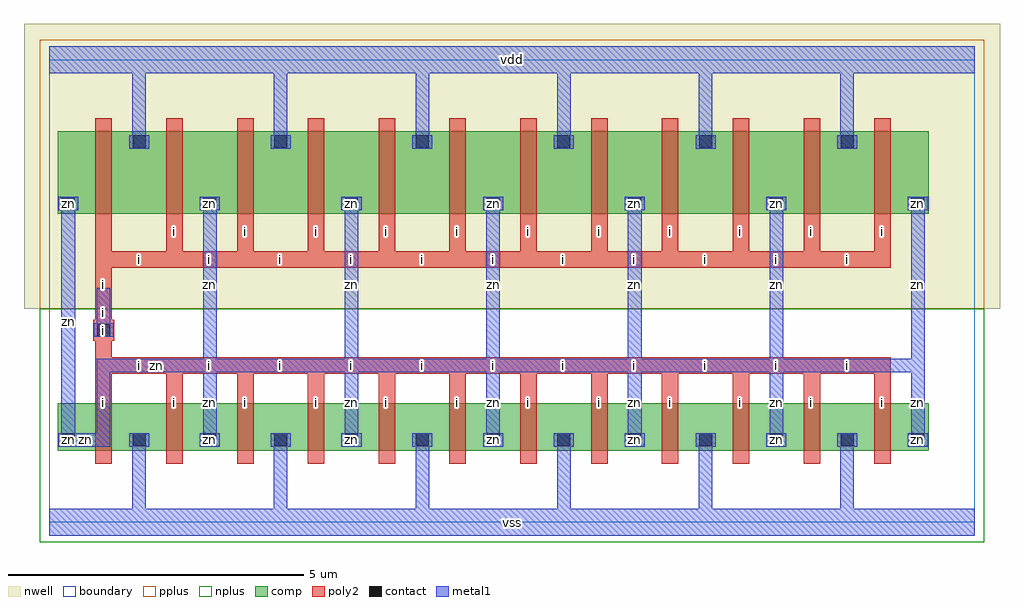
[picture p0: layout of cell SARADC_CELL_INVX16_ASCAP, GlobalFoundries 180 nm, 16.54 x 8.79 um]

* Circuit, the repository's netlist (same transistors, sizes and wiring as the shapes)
* SARADC_CELL_INVX16_ASCAP (INVD12 of gf180mcuf), cells/tools/build_cells.py
.SUBCKT SARADC_CELL_INVX16_ASCAP i vdd vss zn vnw vpw
MU1_M_u2_0 zn i vss vpw nfet_03v3 l=2.800e-07 w=8.000e-07 $pos=0 $flip=0
MU1_M_u2_1 zn i vss vpw nfet_03v3 l=2.800e-07 w=8.000e-07 $pos=1 $flip=1
MU1_M_u2_2 zn i vss vpw nfet_03v3 l=2.800e-07 w=8.000e-07 $pos=2 $flip=0
MU1_M_u2_3 zn i vss vpw nfet_03v3 l=2.800e-07 w=8.000e-07 $pos=3 $flip=1
MU1_M_u2_4 zn i vss vpw nfet_03v3 l=2.800e-07 w=8.000e-07 $pos=4 $flip=0
MU1_M_u2_5 zn i vss vpw nfet_03v3 l=2.800e-07 w=8.000e-07 $pos=5 $flip=1
MU1_M_u2_6 zn i vss vpw nfet_03v3 l=2.800e-07 w=8.000e-07 $pos=6 $flip=0
MU1_M_u2_7 zn i vss vpw nfet_03v3 l=2.800e-07 w=8.000e-07 $pos=7 $flip=1
MU1_M_u2_8 zn i vss vpw nfet_03v3 l=2.800e-07 w=8.000e-07 $pos=8 $flip=0
MU1_M_u2_9 zn i vss vpw nfet_03v3 l=2.800e-07 w=8.000e-07 $pos=9 $flip=1
MU1_M_u2_10 zn i vss vpw nfet_03v3 l=2.800e-07 w=8.000e-07 $pos=10 $flip=0
MU1_M_u2_11 zn i vss vpw nfet_03v3 l=2.800e-07 w=8.000e-07 $pos=11 $flip=1
MU1_M_u3_0 zn i vdd vnw pfet_03v3 l=2.800e-07 w=1.400e-06 $pos=0 $flip=0
MU1_M_u3_1 zn i vdd vnw pfet_03v3 l=2.800e-07 w=1.400e-06 $pos=1 $flip=1
MU1_M_u3_2 zn i vdd vnw pfet_03v3 l=2.800e-07 w=1.400e-06 $pos=2 $flip=0
MU1_M_u3_3 zn i vdd vnw pfet_03v3 l=2.800e-07 w=1.400e-06 $pos=3 $flip=1
MU1_M_u3_4 zn i vdd vnw pfet_03v3 l=2.800e-07 w=1.400e-06 $pos=4 $flip=0
MU1_M_u3_5 zn i vdd vnw pfet_03v3 l=2.800e-07 w=1.400e-06 $pos=5 $flip=1
MU1_M_u3_6 zn i vdd vnw pfet_03v3 l=2.800e-07 w=1.400e-06 $pos=6 $flip=0
MU1_M_u3_7 zn i vdd vnw pfet_03v3 l=2.800e-07 w=1.400e-06 $pos=7 $flip=1
MU1_M_u3_8 zn i vdd vnw pfet_03v3 l=2.800e-07 w=1.400e-06 $pos=8 $flip=0
MU1_M_u3_9 zn i vdd vnw pfet_03v3 l=2.800e-07 w=1.400e-06 $pos=9 $flip=1
MU1_M_u3_10 zn i vdd vnw pfet_03v3 l=2.800e-07 w=1.400e-06 $pos=10 $flip=0
MU1_M_u3_11 zn i vdd vnw pfet_03v3 l=2.800e-07 w=1.400e-06 $pos=11 $flip=1
.ENDS

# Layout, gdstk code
import gdstk
lib = gdstk.Library(unit=1e-6, precision=1e-09)
def R(c, l, rs):  # rectangles x0, y0, x1, y1
    for r in rs: c.add(gdstk.rectangle(r[:2], r[2:], *l))
def A(c, l, x, y, w, h, nx, ny, dx, dy):  # array of equal rectangles
    R(c, l, [(x+i*dx, y+j*dy, x+i*dx+w, y+j*dy+h) for i in range(nx) for j in range(ny)])
boundary = (0, 0)
nwell = (21, 0)
comp = (22, 0)
poly2 = (30, 0)
pplus = (31, 0)
nplus = (32, 0)
contact = (33, 0)
metal1 = (34, 0)

saradc_cell_invx16_ascap = lib.new_cell('SARADC_CELL_INVX16_ASCAP')
R(saradc_cell_invx16_ascap, boundary, [(0,0,15.68,7.84)])
R(saradc_cell_invx16_ascap, nwell, [(-0.43,3.62,16.11,8.45)])
A(saradc_cell_invx16_ascap, comp, 0.14, 1.215, 1.56, 0.8, 12, 1, 1.2, 0)
A(saradc_cell_invx16_ascap, comp, 0.14, 1.215, 0.36, 0.36, 13, 1, 1.2, 0)
A(saradc_cell_invx16_ascap, comp, 0.14, 5.225, 1.56, 1.4, 12, 1, 1.2, 0)
A(saradc_cell_invx16_ascap, comp, 0.14, 5.225, 0.36, 0.36, 7, 1, 2.4, 0)
A(saradc_cell_invx16_ascap, comp, 1.34, 6.265, 0.36, 0.36, 6, 1, 2.4, 0)
A(saradc_cell_invx16_ascap, poly2, 0.78, 0.995, 0.28, 1.24, 12, 1, 1.2, 0)
A(saradc_cell_invx16_ascap, poly2, 0.78, 1.255, 0.28, 1.54, 12, 1, 1.2, 0)
A(saradc_cell_invx16_ascap, poly2, 0.78, 2.515, 1.48, 0.28, 11, 2, 1.2, 1.8)
A(saradc_cell_invx16_ascap, poly2, 1.98, 4.315, 0.28, 1.23, 11, 1, 1.2, 0)
A(saradc_cell_invx16_ascap, poly2, 0.78, 5.005, 0.28, 1.84, 12, 1, 1.2, 0)
R(saradc_cell_invx16_ascap, poly2, [(0.78,2.515,1.06,5.545), (0.74,3.075,1.1,3.435)])
R(saradc_cell_invx16_ascap, pplus, [(-0.16,3.62,15.84,7.5), (-0.16,7.5,15.84,8.18)])
R(saradc_cell_invx16_ascap, nplus, [(-0.16,-0.34,15.84,0.34), (-0.16,0.34,15.84,3.62)])
A(saradc_cell_invx16_ascap, contact, 0.21, 1.285, 0.22, 0.22, 13, 1, 1.2, 0)
A(saradc_cell_invx16_ascap, contact, 0.21, 5.295, 0.22, 0.22, 7, 1, 2.4, 0)
A(saradc_cell_invx16_ascap, contact, 1.41, 6.335, 0.22, 0.22, 6, 1, 2.4, 0)
R(saradc_cell_invx16_ascap, contact, [(0.81,3.145,1.03,3.365)])
A(saradc_cell_invx16_ascap, metal1, 1.405, 0.065, 0.23, 1.445, 6, 2, 2.4, 6.265)
A(saradc_cell_invx16_ascap, metal1, 0.15, 1.28, 0.34, 0.23, 13, 1, 1.2, 0)
A(saradc_cell_invx16_ascap, metal1, 2.605, 1.28, 0.23, 1.49, 6, 1, 2.4, 0)
A(saradc_cell_invx16_ascap, metal1, 2.605, 2.54, 2.63, 0.23, 5, 1, 2.4, 0)
A(saradc_cell_invx16_ascap, metal1, 2.605, 2.54, 0.23, 2.98, 6, 1, 2.4, 0)
A(saradc_cell_invx16_ascap, metal1, 0.15, 5.29, 0.34, 0.23, 7, 1, 2.4, 0)
A(saradc_cell_invx16_ascap, metal1, 1.35, 6.33, 0.34, 0.23, 6, 1, 2.4, 0)
R(saradc_cell_invx16_ascap, metal1, [(0,-0.23,15.68,0.23), (0.205,1.28,1.035,1.51), (0.205,1.28,0.435,5.52), (0.805,1.28,1.035,2.77), (0.805,2.54,2.835,2.77), (0.75,3.14,1.09,3.37), (0.805,3.14,1.035,3.97), (0,7.61,15.68,8.07)])
saradc_cell_invx16_ascap.add(gdstk.FlexPath([(0.14,0.575),(14.9,0.575)], 0, ends="flush", simple_path=True, layer=0, datatype=0))  # boundary
saradc_cell_invx16_ascap.add(gdstk.FlexPath([(0.14,1.395),(14.9,1.395)], 0, ends="flush", simple_path=True, layer=0, datatype=0))  # boundary
saradc_cell_invx16_ascap.add(gdstk.FlexPath([(0.14,2.655),(14.9,2.655)], 0, ends="flush", simple_path=True, layer=0, datatype=0))  # boundary
saradc_cell_invx16_ascap.add(gdstk.FlexPath([(0.14,3.255),(14.9,3.255)], 0, ends="flush", simple_path=True, layer=0, datatype=0))  # boundary
saradc_cell_invx16_ascap.add(gdstk.FlexPath([(0.14,3.855),(14.9,3.855)], 0, ends="flush", simple_path=True, layer=0, datatype=0))  # boundary
saradc_cell_invx16_ascap.add(gdstk.FlexPath([(0.14,4.455),(14.9,4.455)], 0, ends="flush", simple_path=True, layer=0, datatype=0))  # boundary
saradc_cell_invx16_ascap.add(gdstk.FlexPath([(0.14,5.405),(14.9,5.405)], 0, ends="flush", simple_path=True, layer=0, datatype=0))  # boundary
saradc_cell_invx16_ascap.add(gdstk.FlexPath([(0.14,6.445),(14.9,6.445)], 0, ends="flush", simple_path=True, layer=0, datatype=0))  # boundary
saradc_cell_invx16_ascap.add(gdstk.FlexPath([(0.14,7.265),(14.9,7.265)], 0, ends="flush", simple_path=True, layer=0, datatype=0))  # boundary
saradc_cell_invx16_ascap.add(gdstk.FlexPath([(0.32,0.065),(0.32,7.775)], 0, ends="flush", simple_path=True, layer=0, datatype=0))  # boundary
saradc_cell_invx16_ascap.add(gdstk.FlexPath([(0.92,0.065),(0.92,7.775)], 0, ends="flush", simple_path=True, layer=0, datatype=0))  # boundary
saradc_cell_invx16_ascap.add(gdstk.FlexPath([(1.52,0.065),(1.52,7.775)], 0, ends="flush", simple_path=True, layer=0, datatype=0))  # boundary
saradc_cell_invx16_ascap.add(gdstk.FlexPath([(2.12,0.065),(2.12,7.775)], 0, ends="flush", simple_path=True, layer=0, datatype=0))  # boundary
saradc_cell_invx16_ascap.add(gdstk.FlexPath([(2.72,0.065),(2.72,7.775)], 0, ends="flush", simple_path=True, layer=0, datatype=0))  # boundary
saradc_cell_invx16_ascap.add(gdstk.FlexPath([(3.32,0.065),(3.32,7.775)], 0, ends="flush", simple_path=True, layer=0, datatype=0))  # boundary
saradc_cell_invx16_ascap.add(gdstk.FlexPath([(3.92,0.065),(3.92,7.775)], 0, ends="flush", simple_path=True, layer=0, datatype=0))  # boundary
saradc_cell_invx16_ascap.add(gdstk.FlexPath([(4.52,0.065),(4.52,7.775)], 0, ends="flush", simple_path=True, layer=0, datatype=0))  # boundary
saradc_cell_invx16_ascap.add(gdstk.FlexPath([(5.12,0.065),(5.12,7.775)], 0, ends="flush", simple_path=True, layer=0, datatype=0))  # boundary
saradc_cell_invx16_ascap.add(gdstk.FlexPath([(5.72,0.065),(5.72,7.775)], 0, ends="flush", simple_path=True, layer=0, datatype=0))  # boundary
saradc_cell_invx16_ascap.add(gdstk.FlexPath([(6.32,0.065),(6.32,7.775)], 0, ends="flush", simple_path=True, layer=0, datatype=0))  # boundary
saradc_cell_invx16_ascap.add(gdstk.FlexPath([(6.92,0.065),(6.92,7.775)], 0, ends="flush", simple_path=True, layer=0, datatype=0))  # boundary
saradc_cell_invx16_ascap.add(gdstk.FlexPath([(7.52,0.065),(7.52,7.775)], 0, ends="flush", simple_path=True, layer=0, datatype=0))  # boundary
saradc_cell_invx16_ascap.add(gdstk.FlexPath([(8.12,0.065),(8.12,7.775)], 0, ends="flush", simple_path=True, layer=0, datatype=0))  # boundary
saradc_cell_invx16_ascap.add(gdstk.FlexPath([(8.72,0.065),(8.72,7.775)], 0, ends="flush", simple_path=True, layer=0, datatype=0))  # boundary
saradc_cell_invx16_ascap.add(gdstk.FlexPath([(9.32,0.065),(9.32,7.775)], 0, ends="flush", simple_path=True, layer=0, datatype=0))  # boundary
saradc_cell_invx16_ascap.add(gdstk.FlexPath([(9.92,0.065),(9.92,7.775)], 0, ends="flush", simple_path=True, layer=0, datatype=0))  # boundary
saradc_cell_invx16_ascap.add(gdstk.FlexPath([(10.52,0.065),(10.52,7.775)], 0, ends="flush", simple_path=True, layer=0, datatype=0))  # boundary
saradc_cell_invx16_ascap.add(gdstk.FlexPath([(11.12,0.065),(11.12,7.775)], 0, ends="flush", simple_path=True, layer=0, datatype=0))  # boundary
saradc_cell_invx16_ascap.add(gdstk.FlexPath([(11.72,0.065),(11.72,7.775)], 0, ends="flush", simple_path=True, layer=0, datatype=0))  # boundary
saradc_cell_invx16_ascap.add(gdstk.FlexPath([(12.32,0.065),(12.32,7.775)], 0, ends="flush", simple_path=True, layer=0, datatype=0))  # boundary
saradc_cell_invx16_ascap.add(gdstk.FlexPath([(12.92,0.065),(12.92,7.775)], 0, ends="flush", simple_path=True, layer=0, datatype=0))  # boundary
saradc_cell_invx16_ascap.add(gdstk.FlexPath([(13.52,0.065),(13.52,7.775)], 0, ends="flush", simple_path=True, layer=0, datatype=0))  # boundary
saradc_cell_invx16_ascap.add(gdstk.FlexPath([(14.12,0.065),(14.12,7.775)], 0, ends="flush", simple_path=True, layer=0, datatype=0))  # boundary
saradc_cell_invx16_ascap.add(gdstk.FlexPath([(14.72,0.065),(14.72,7.775)], 0, ends="flush", simple_path=True, layer=0, datatype=0))  # boundary
saradc_cell_invx16_ascap.add(gdstk.Label('zn', (0.32,1.395), layer=22, texttype=0))
saradc_cell_invx16_ascap.add(gdstk.Label('zn', (2.72,1.395), layer=22, texttype=0))
saradc_cell_invx16_ascap.add(gdstk.Label('zn', (5.12,1.395), layer=22, texttype=0))
saradc_cell_invx16_ascap.add(gdstk.Label('zn', (7.52,1.395), layer=22, texttype=0))
saradc_cell_invx16_ascap.add(gdstk.Label('zn', (9.92,1.395), layer=22, texttype=0))
saradc_cell_invx16_ascap.add(gdstk.Label('zn', (12.32,1.395), layer=22, texttype=0))
saradc_cell_invx16_ascap.add(gdstk.Label('zn', (14.72,1.395), layer=22, texttype=0))
saradc_cell_invx16_ascap.add(gdstk.Label('zn', (0.32,5.405), layer=22, texttype=0))
saradc_cell_invx16_ascap.add(gdstk.Label('zn', (2.72,5.405), layer=22, texttype=0))
saradc_cell_invx16_ascap.add(gdstk.Label('zn', (5.12,5.405), layer=22, texttype=0))
saradc_cell_invx16_ascap.add(gdstk.Label('zn', (7.52,5.405), layer=22, texttype=0))
saradc_cell_invx16_ascap.add(gdstk.Label('zn', (9.92,5.405), layer=22, texttype=0))
saradc_cell_invx16_ascap.add(gdstk.Label('zn', (12.32,5.405), layer=22, texttype=0))
saradc_cell_invx16_ascap.add(gdstk.Label('zn', (14.72,5.405), layer=22, texttype=0))
saradc_cell_invx16_ascap.add(gdstk.Label('i', (0.92,2.025), layer=30, texttype=0))
saradc_cell_invx16_ascap.add(gdstk.Label('i', (1.52,2.655), layer=30, texttype=0))
saradc_cell_invx16_ascap.add(gdstk.Label('i', (2.12,2.025), layer=30, texttype=0))
saradc_cell_invx16_ascap.add(gdstk.Label('i', (2.72,2.655), layer=30, texttype=0))
saradc_cell_invx16_ascap.add(gdstk.Label('i', (3.32,2.025), layer=30, texttype=0))
saradc_cell_invx16_ascap.add(gdstk.Label('i', (3.92,2.655), layer=30, texttype=0))
saradc_cell_invx16_ascap.add(gdstk.Label('i', (4.52,2.025), layer=30, texttype=0))
saradc_cell_invx16_ascap.add(gdstk.Label('i', (5.12,2.655), layer=30, texttype=0))
saradc_cell_invx16_ascap.add(gdstk.Label('i', (5.72,2.025), layer=30, texttype=0))
saradc_cell_invx16_ascap.add(gdstk.Label('i', (6.32,2.655), layer=30, texttype=0))
saradc_cell_invx16_ascap.add(gdstk.Label('i', (6.92,2.025), layer=30, texttype=0))
saradc_cell_invx16_ascap.add(gdstk.Label('i', (7.52,2.655), layer=30, texttype=0))
saradc_cell_invx16_ascap.add(gdstk.Label('i', (8.12,2.025), layer=30, texttype=0))
saradc_cell_invx16_ascap.add(gdstk.Label('i', (8.72,2.655), layer=30, texttype=0))
saradc_cell_invx16_ascap.add(gdstk.Label('i', (9.32,2.025), layer=30, texttype=0))
saradc_cell_invx16_ascap.add(gdstk.Label('i', (9.92,2.655), layer=30, texttype=0))
saradc_cell_invx16_ascap.add(gdstk.Label('i', (10.52,2.025), layer=30, texttype=0))
saradc_cell_invx16_ascap.add(gdstk.Label('i', (11.12,2.655), layer=30, texttype=0))
saradc_cell_invx16_ascap.add(gdstk.Label('i', (11.72,2.025), layer=30, texttype=0))
saradc_cell_invx16_ascap.add(gdstk.Label('i', (12.32,2.655), layer=30, texttype=0))
saradc_cell_invx16_ascap.add(gdstk.Label('i', (12.92,2.025), layer=30, texttype=0))
saradc_cell_invx16_ascap.add(gdstk.Label('i', (13.52,2.655), layer=30, texttype=0))
saradc_cell_invx16_ascap.add(gdstk.Label('i', (14.12,2.025), layer=30, texttype=0))
saradc_cell_invx16_ascap.add(gdstk.Label('i', (0.92,4.03), layer=30, texttype=0))
saradc_cell_invx16_ascap.add(gdstk.Label('i', (1.52,4.455), layer=30, texttype=0))
saradc_cell_invx16_ascap.add(gdstk.Label('i', (2.12,4.93), layer=30, texttype=0))
saradc_cell_invx16_ascap.add(gdstk.Label('i', (2.72,4.455), layer=30, texttype=0))
saradc_cell_invx16_ascap.add(gdstk.Label('i', (3.32,4.93), layer=30, texttype=0))
saradc_cell_invx16_ascap.add(gdstk.Label('i', (3.92,4.455), layer=30, texttype=0))
saradc_cell_invx16_ascap.add(gdstk.Label('i', (4.52,4.93), layer=30, texttype=0))
saradc_cell_invx16_ascap.add(gdstk.Label('i', (5.12,4.455), layer=30, texttype=0))
saradc_cell_invx16_ascap.add(gdstk.Label('i', (5.72,4.93), layer=30, texttype=0))
saradc_cell_invx16_ascap.add(gdstk.Label('i', (6.32,4.455), layer=30, texttype=0))
saradc_cell_invx16_ascap.add(gdstk.Label('i', (6.92,4.93), layer=30, texttype=0))
saradc_cell_invx16_ascap.add(gdstk.Label('i', (7.52,4.455), layer=30, texttype=0))
saradc_cell_invx16_ascap.add(gdstk.Label('i', (8.12,4.93), layer=30, texttype=0))
saradc_cell_invx16_ascap.add(gdstk.Label('i', (8.72,4.455), layer=30, texttype=0))
saradc_cell_invx16_ascap.add(gdstk.Label('i', (9.32,4.93), layer=30, texttype=0))
saradc_cell_invx16_ascap.add(gdstk.Label('i', (9.92,4.455), layer=30, texttype=0))
saradc_cell_invx16_ascap.add(gdstk.Label('i', (10.52,4.93), layer=30, texttype=0))
saradc_cell_invx16_ascap.add(gdstk.Label('i', (11.12,4.455), layer=30, texttype=0))
saradc_cell_invx16_ascap.add(gdstk.Label('i', (11.72,4.93), layer=30, texttype=0))
saradc_cell_invx16_ascap.add(gdstk.Label('i', (12.32,4.455), layer=30, texttype=0))
saradc_cell_invx16_ascap.add(gdstk.Label('i', (12.92,4.93), layer=30, texttype=0))
saradc_cell_invx16_ascap.add(gdstk.Label('i', (13.52,4.455), layer=30, texttype=0))
saradc_cell_invx16_ascap.add(gdstk.Label('i', (14.12,4.93), layer=30, texttype=0))
saradc_cell_invx16_ascap.add(gdstk.Label('i', (0.92,3.255), layer=30, texttype=0))
saradc_cell_invx16_ascap.add(gdstk.Label('zn', (0.32,1.395), layer=33, texttype=0))
saradc_cell_invx16_ascap.add(gdstk.Label('zn', (2.72,1.395), layer=33, texttype=0))
saradc_cell_invx16_ascap.add(gdstk.Label('zn', (5.12,1.395), layer=33, texttype=0))
saradc_cell_invx16_ascap.add(gdstk.Label('zn', (7.52,1.395), layer=33, texttype=0))
saradc_cell_invx16_ascap.add(gdstk.Label('zn', (9.92,1.395), layer=33, texttype=0))
saradc_cell_invx16_ascap.add(gdstk.Label('zn', (12.32,1.395), layer=33, texttype=0))
saradc_cell_invx16_ascap.add(gdstk.Label('zn', (14.72,1.395), layer=33, texttype=0))
saradc_cell_invx16_ascap.add(gdstk.Label('zn', (0.32,5.405), layer=33, texttype=0))
saradc_cell_invx16_ascap.add(gdstk.Label('zn', (2.72,5.405), layer=33, texttype=0))
saradc_cell_invx16_ascap.add(gdstk.Label('zn', (5.12,5.405), layer=33, texttype=0))
saradc_cell_invx16_ascap.add(gdstk.Label('zn', (7.52,5.405), layer=33, texttype=0))
saradc_cell_invx16_ascap.add(gdstk.Label('zn', (9.92,5.405), layer=33, texttype=0))
saradc_cell_invx16_ascap.add(gdstk.Label('zn', (12.32,5.405), layer=33, texttype=0))
saradc_cell_invx16_ascap.add(gdstk.Label('zn', (14.72,5.405), layer=33, texttype=0))
saradc_cell_invx16_ascap.add(gdstk.Label('i', (0.92,3.255), layer=33, texttype=0))
saradc_cell_invx16_ascap.add(gdstk.Label('zn', (0.32,1.395), layer=34, texttype=10))
saradc_cell_invx16_ascap.add(gdstk.Label('zn', (2.72,1.395), layer=34, texttype=10))
saradc_cell_invx16_ascap.add(gdstk.Label('zn', (5.12,1.395), layer=34, texttype=10))
saradc_cell_invx16_ascap.add(gdstk.Label('zn', (7.52,1.395), layer=34, texttype=10))
saradc_cell_invx16_ascap.add(gdstk.Label('zn', (9.92,1.395), layer=34, texttype=10))
saradc_cell_invx16_ascap.add(gdstk.Label('zn', (12.32,1.395), layer=34, texttype=10))
saradc_cell_invx16_ascap.add(gdstk.Label('zn', (14.72,1.395), layer=34, texttype=10))
saradc_cell_invx16_ascap.add(gdstk.Label('zn', (0.32,5.405), layer=34, texttype=10))
saradc_cell_invx16_ascap.add(gdstk.Label('zn', (2.72,5.405), layer=34, texttype=10))
saradc_cell_invx16_ascap.add(gdstk.Label('zn', (5.12,5.405), layer=34, texttype=10))
saradc_cell_invx16_ascap.add(gdstk.Label('zn', (7.52,5.405), layer=34, texttype=10))
saradc_cell_invx16_ascap.add(gdstk.Label('zn', (9.92,5.405), layer=34, texttype=10))
saradc_cell_invx16_ascap.add(gdstk.Label('zn', (12.32,5.405), layer=34, texttype=10))
saradc_cell_invx16_ascap.add(gdstk.Label('zn', (14.72,5.405), layer=34, texttype=10))
saradc_cell_invx16_ascap.add(gdstk.Label('zn', (0.62,1.395), layer=34, texttype=10))
saradc_cell_invx16_ascap.add(gdstk.Label('zn', (0.92,2.025), layer=34, texttype=10))
saradc_cell_invx16_ascap.add(gdstk.Label('zn', (1.82,2.655), layer=34, texttype=10))
saradc_cell_invx16_ascap.add(gdstk.Label('zn', (2.72,2.025), layer=34, texttype=10))
saradc_cell_invx16_ascap.add(gdstk.Label('zn', (3.92,2.655), layer=34, texttype=10))
saradc_cell_invx16_ascap.add(gdstk.Label('zn', (5.12,2.025), layer=34, texttype=10))
saradc_cell_invx16_ascap.add(gdstk.Label('zn', (6.32,2.655), layer=34, texttype=10))
saradc_cell_invx16_ascap.add(gdstk.Label('zn', (7.52,2.025), layer=34, texttype=10))
saradc_cell_invx16_ascap.add(gdstk.Label('zn', (8.72,2.655), layer=34, texttype=10))
saradc_cell_invx16_ascap.add(gdstk.Label('zn', (9.92,2.025), layer=34, texttype=10))
saradc_cell_invx16_ascap.add(gdstk.Label('zn', (11.12,2.655), layer=34, texttype=10))
saradc_cell_invx16_ascap.add(gdstk.Label('zn', (12.32,2.025), layer=34, texttype=10))
saradc_cell_invx16_ascap.add(gdstk.Label('zn', (13.52,2.655), layer=34, texttype=10))
saradc_cell_invx16_ascap.add(gdstk.Label('zn', (14.72,2.025), layer=34, texttype=10))
saradc_cell_invx16_ascap.add(gdstk.Label('zn', (0.32,3.4), layer=34, texttype=10))
saradc_cell_invx16_ascap.add(gdstk.Label('zn', (2.72,4.03), layer=34, texttype=10))
saradc_cell_invx16_ascap.add(gdstk.Label('zn', (5.12,4.03), layer=34, texttype=10))
saradc_cell_invx16_ascap.add(gdstk.Label('zn', (7.52,4.03), layer=34, texttype=10))
saradc_cell_invx16_ascap.add(gdstk.Label('zn', (9.92,4.03), layer=34, texttype=10))
saradc_cell_invx16_ascap.add(gdstk.Label('zn', (12.32,4.03), layer=34, texttype=10))
saradc_cell_invx16_ascap.add(gdstk.Label('zn', (14.72,4.03), layer=34, texttype=10))
saradc_cell_invx16_ascap.add(gdstk.Label('i', (0.92,3.255), layer=34, texttype=10))
saradc_cell_invx16_ascap.add(gdstk.Label('i', (0.92,3.555), layer=34, texttype=10))
saradc_cell_invx16_ascap.add(gdstk.Label('vss', (7.84,0), layer=34, texttype=10))
saradc_cell_invx16_ascap.add(gdstk.Label('vdd', (7.84,7.84), layer=34, texttype=10))

lib.write_gds('SARADC_CELL_INVX16_ASCAP.gds')
